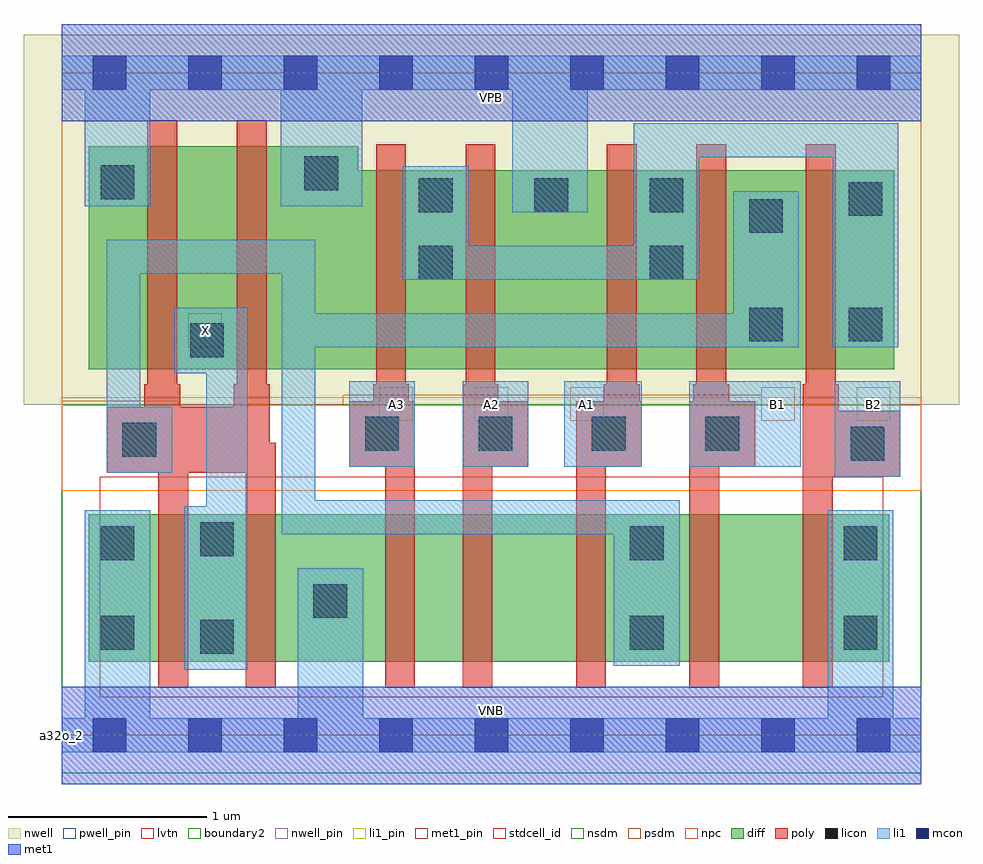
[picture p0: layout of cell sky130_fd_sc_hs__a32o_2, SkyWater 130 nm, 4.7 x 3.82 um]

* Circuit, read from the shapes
.subckt sky130_fd_sc_hs__a32o_2 A1 A2 A3 B1 B2 VGND VNB VPB VPWR X
XM1 X n1 VGND VNB sky130_fd_pr__nfet_01v8_lvt w=0.74 l=0.15 m=2
XM2 n2 A3 VGND VNB sky130_fd_pr__nfet_01v8_lvt w=0.74 l=0.15
XM3 n3 A2 n2 VNB sky130_fd_pr__nfet_01v8_lvt w=0.74 l=0.15
XM4 n1 A1 n3 VNB sky130_fd_pr__nfet_01v8_lvt w=0.74 l=0.15
XM5 n4 B1 n1 VNB sky130_fd_pr__nfet_01v8_lvt w=0.74 l=0.15
XM6 VGND B2 n4 VNB sky130_fd_pr__nfet_01v8_lvt w=0.74 l=0.15
XM7 X n1 VPWR VPB sky130_fd_pr__pfet_01v8 w=1.12 l=0.15 m=2
XM8 n5 A3 VPWR VPB sky130_fd_pr__pfet_01v8 w=1 l=0.15
XM9 VPWR A2 n5 VPB sky130_fd_pr__pfet_01v8 w=1 l=0.15
XM10 n5 A1 VPWR VPB sky130_fd_pr__pfet_01v8 w=1 l=0.15
XM11 n1 B1 n5 VPB sky130_fd_pr__pfet_01v8 w=1 l=0.15
XM12 n5 B2 n1 VPB sky130_fd_pr__pfet_01v8 w=1 l=0.15
.ends

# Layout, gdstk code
import gdstk
lib = gdstk.Library(unit=1e-6, precision=1e-09)
def R(c, l, rs):  # rectangles x0, y0, x1, y1
    for r in rs: c.add(gdstk.rectangle(r[:2], r[2:], *l))
def A(c, l, x, y, w, h, nx, ny, dx, dy):  # array of equal rectangles
    R(c, l, [(x+i*dx, y+j*dy, x+i*dx+w, y+j*dy+h) for i in range(nx) for j in range(ny)])
def P(c, l, *ps):  # polygons
    for p in ps: c.add(gdstk.Polygon(p, *l))
nwell_pin = (64, 16)
nwell = (64, 20)
diff = (65, 20)
poly = (66, 20)
licon = (66, 44)
li1_pin = (67, 16)
li1 = (67, 20)
mcon = (67, 44)
met1_pin = (68, 16)
met1 = (68, 20)
stdcell_id = (81, 4)
nsdm = (93, 44)
psdm = (94, 20)
npc = (95, 20)
pwell_pin = (122, 16)
lvtn = (125, 44)
boundary2 = (236, 0)

sky130_fd_sc_hs__a32o_2 = lib.new_cell('sky130_fd_sc_hs__a32o_2')
R(sky130_fd_sc_hs__a32o_2, nwell_pin, [(0,3.085,4.32,3.33)])
R(sky130_fd_sc_hs__a32o_2, nwell, [(-0.19,1.66,4.51,3.52)])
R(sky130_fd_sc_hs__a32o_2, diff, [(0.135,0.37,4.16,1.11)])
P(sky130_fd_sc_hs__a32o_2, diff, [(4.185,2.84),(1.49,2.84),(1.49,2.96),(0.135,2.96),(0.135,1.84),(4.185,1.84)])
P(sky130_fd_sc_hs__a32o_2, poly, [(4.215,1.63),(3.905,1.63),(3.905,1.765),(3.89,1.765),(3.89,2.97),(3.74,2.97),(3.74,1.765),(3.725,1.765),(3.725,0.24),(3.875,0.24),(3.875,1.3),(4.215,1.3)],
  [(3.485,1.68),(3.355,1.68),(3.355,1.765),(3.34,1.765),(3.34,2.97),(3.19,2.97),(3.19,1.765),(3.175,1.765),(3.175,1.68),(3.155,1.68),(3.155,0.24),(3.305,0.24),(3.305,1.35),(3.485,1.35)],
  [(2.915,1.68),(2.905,1.68),(2.905,1.765),(2.89,1.765),(2.89,2.97),(2.74,2.97),(2.74,1.765),(2.725,1.765),(2.725,1.68),(2.585,1.68),(2.585,0.24),(2.735,0.24),(2.735,1.35),(2.915,1.35)],
  [(2.345,1.68),(2.195,1.68),(2.195,1.765),(2.18,1.765),(2.18,2.97),(2.03,2.97),(2.03,1.765),(2.015,1.765),(2.015,0.24),(2.165,0.24),(2.165,1.35),(2.345,1.35)],
  [(1.775,1.68),(1.745,1.68),(1.745,1.765),(1.73,1.765),(1.73,2.97),(1.58,2.97),(1.58,1.765),(1.565,1.765),(1.565,1.68),(1.445,1.68),(1.445,1.35),(1.625,1.35),(1.625,0.24),(1.775,0.24)],
  [(1.075,1.47),(1.045,1.47),(1.045,1.765),(1.03,1.765),(1.03,3.09),(0.88,3.09),(0.88,1.765),(0.865,1.765),(0.865,1.65),(0.595,1.65),(0.595,1.765),(0.58,1.765),(0.58,3.09),(0.43,3.09),(0.43,1.765),(0.415,1.765),(0.415,1.65),(0.225,1.65),(0.225,1.32),(0.485,1.32),(0.485,0.24),(0.635,0.24),(0.635,1.32),(0.925,1.32),(0.925,0.24),(1.075,0.24)])
A(sky130_fd_sc_hs__a32o_2, licon, 1.525, 1.43, 0.17, 0.17, 4, 1, 0.57, 0)
A(sky130_fd_sc_hs__a32o_2, licon, 1.795, 2.63, 0.17, 0.17, 3, 1, 0.58, 0)
R(sky130_fd_sc_hs__a32o_2, licon, [(0.695,0.41,0.865,0.58), (0.195,0.43,0.365,0.6), (2.855,0.43,3.025,0.6), (3.93,0.43,4.1,0.6), (1.265,0.59,1.435,0.76), (0.195,0.88,0.365,1.05), (2.855,0.88,3.025,1.05), (3.93,0.88,4.1,1.05), (0.695,0.9,0.865,1.07), (3.965,1.38,4.135,1.55), (0.305,1.4,0.475,1.57), (0.645,1.9,0.815,2.07), (3.455,1.98,3.625,2.15), (3.955,1.98,4.125,2.15), (1.795,2.29,1.965,2.46), (2.955,2.29,3.125,2.46), (3.455,2.525,3.625,2.695), (3.955,2.61,4.125,2.78), (0.195,2.695,0.365,2.865), (1.22,2.74,1.39,2.91)])
A(sky130_fd_sc_hs__a32o_2, li1_pin, 1.595, 1.58, 0.17, 0.17, 3, 1, 0.48, 0)
R(sky130_fd_sc_hs__a32o_2, li1_pin, [(3.515,1.58,3.685,1.75), (3.995,1.58,4.165,1.75), (0.635,1.95,0.805,2.12)])
R(sky130_fd_sc_hs__a32o_2, li1, [(3.885,1.3,4.215,1.78), (1.445,1.35,1.775,1.78), (2.015,1.35,2.345,1.78), (2.525,1.35,2.915,1.78), (3.155,1.35,3.715,1.78)])
P(sky130_fd_sc_hs__a32o_2, li1, [(0.115,2.66),(0.115,3.245),(0,3.245),(0,3.415),(4.32,3.415),(4.32,3.245),(2.645,3.245),(2.645,2.63),(2.265,2.63),(2.265,3.245),(1.51,3.245),(1.51,2.66),(1.1,2.66),(1.1,3.245),(0.445,3.245),(0.445,2.66)],
  [(0.115,0.085),(0.115,1.13),(0.445,1.13),(0.445,0.085),(1.185,0.085),(1.185,0.84),(1.515,0.84),(1.515,0.085),(3.85,0.085),(3.85,1.13),(4.18,1.13),(4.18,0.085),(4.32,0.085),(4.32,-0.085),(0,-0.085),(0,0.085)],
  [(2.875,2.46),(2.875,3.075),(4.205,3.075),(4.205,1.95),(3.875,1.95),(3.875,2.905),(3.205,2.905),(3.205,2.29),(1.715,2.29),(1.715,2.86),(2.045,2.86),(2.045,2.46)],
  [(2.775,0.35),(2.775,1.01),(1.105,1.01),(1.105,2.32),(0.395,2.32),(0.395,1.65),(0.555,1.65),(0.555,1.32),(0.225,1.32),(0.225,2.49),(1.275,2.49),(1.275,2.12),(3.375,2.12),(3.375,2.735),(3.705,2.735),(3.705,1.95),(1.275,1.95),(1.275,1.18),(3.105,1.18),(3.105,0.35)],
  [(0.565,1.82),(0.565,2.15),(0.935,2.15),(0.935,0.33),(0.615,0.33),(0.615,1.15),(0.725,1.15),(0.725,1.82)])
A(sky130_fd_sc_hs__a32o_2, mcon, 0.155, -0.085, 0.17, 0.17, 9, 2, 0.48, 3.33)
R(sky130_fd_sc_hs__a32o_2, met1_pin, [(0,0,4.32,0.245), (0,3.085,4.32,3.33)])
R(sky130_fd_sc_hs__a32o_2, met1, [(0,-0.245,4.32,0.245), (0,3.085,4.32,3.575)])
R(sky130_fd_sc_hs__a32o_2, stdcell_id, [(0,0,4.32,3.33)])
R(sky130_fd_sc_hs__a32o_2, nsdm, [(0,-0.19,4.32,1.66)])
P(sky130_fd_sc_hs__a32o_2, psdm, [(4.32,3.52),(0,3.52),(0,1.68),(0.585,1.68),(0.585,1.66),(1.415,1.66),(1.415,1.71),(3.515,1.71),(3.515,1.66),(4.32,1.66)])
R(sky130_fd_sc_hs__a32o_2, npc, [(0,1.23,4.32,1.7)])
R(sky130_fd_sc_hs__a32o_2, pwell_pin, [(0,0,4.32,0.245)])
R(sky130_fd_sc_hs__a32o_2, lvtn, [(0.19,0.19,4.13,1.3)])
R(sky130_fd_sc_hs__a32o_2, boundary2, [(0,0,4.32,3.33)])
sky130_fd_sc_hs__a32o_2.add(gdstk.Label('a32o_2', (0,0), layer=83, texttype=44))
sky130_fd_sc_hs__a32o_2.add(gdstk.Label('VNB', (2.16,0.123), layer=64, texttype=59))
sky130_fd_sc_hs__a32o_2.add(gdstk.Label('VPB', (2.16,3.208), layer=64, texttype=5))
sky130_fd_sc_hs__a32o_2.add(gdstk.Label('VPWR', (2.16,3.208), layer=68, texttype=5))
sky130_fd_sc_hs__a32o_2.add(gdstk.Label('VGND', (2.16,0.123), layer=68, texttype=5))
sky130_fd_sc_hs__a32o_2.add(gdstk.Label('B2', (4.08,1.665), layer=67, texttype=5))
sky130_fd_sc_hs__a32o_2.add(gdstk.Label('B1', (3.6,1.665), layer=67, texttype=5))
sky130_fd_sc_hs__a32o_2.add(gdstk.Label('A3', (1.68,1.665), layer=67, texttype=5))
sky130_fd_sc_hs__a32o_2.add(gdstk.Label('A2', (2.16,1.665), layer=67, texttype=5))
sky130_fd_sc_hs__a32o_2.add(gdstk.Label('A1', (2.64,1.665), layer=67, texttype=5))
sky130_fd_sc_hs__a32o_2.add(gdstk.Label('X', (0.72,2.035), layer=67, texttype=5))

lib.write_gds('sky130_fd_sc_hs__a32o_2.gds')
